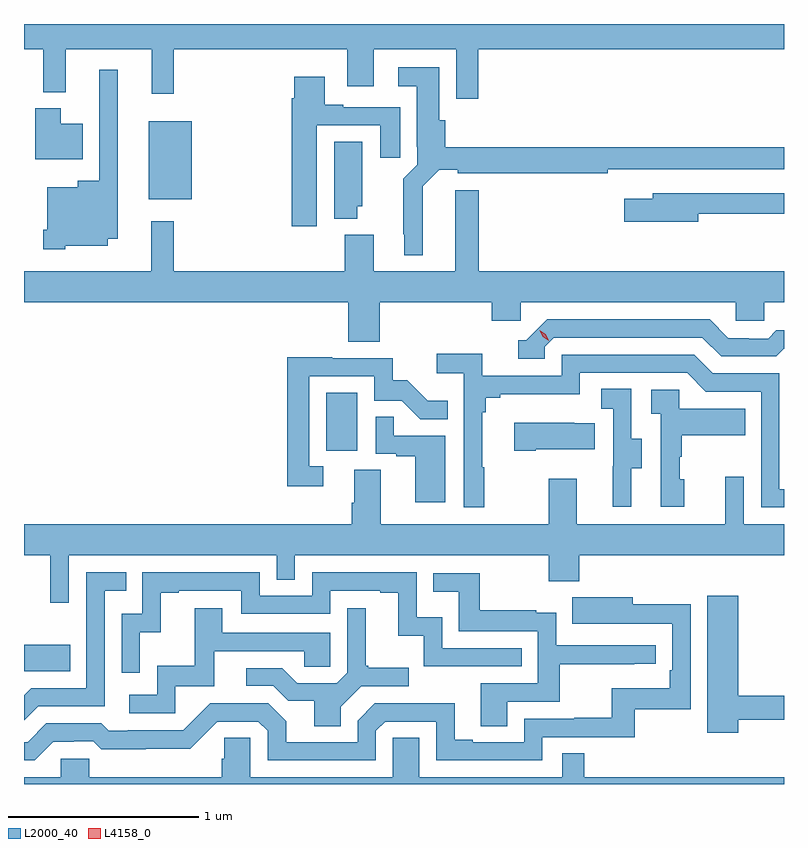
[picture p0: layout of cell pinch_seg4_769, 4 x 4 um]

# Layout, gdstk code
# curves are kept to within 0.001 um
import gdstk
lib = gdstk.Library(unit=1e-6, precision=1e-09)
def R(c, l, rs):  # rectangles x0, y0, x1, y1
    for r in rs: c.add(gdstk.rectangle(r[:2], r[2:], *l))
def P(c, l, *ps):  # polygons
    for p in ps: c.add(gdstk.Polygon(p, *l))
L2000_40 = (2000, 40)
L4158_0 = (4158, 0)

pinch_seg4_769 = lib.new_cell('pinch_seg4_769')
R(pinch_seg4_769, L2000_40, [(814.856,826.847,815.099,826.987), (816.446,828.006,816.61,828.313), (815.513,829.331,815.74,829.741)])
P(pinch_seg4_769, L2000_40, [(817.247,830.12),(818.856,830.12),(818.856,830.253),(814.856,830.253),(814.856,830.12),(814.957,830.12),(814.957,829.895),(815.075,829.895),(815.075,830.12),(815.528,830.12),(815.528,829.887),(815.645,829.887),(815.645,830.12),(816.557,830.12),(816.557,829.926),(816.697,829.926),(816.697,830.12),(817.131,830.12),(817.131,829.86),(817.247,829.86)],
  [(816.955,829.4),(817.041,829.487),(817.14,829.487),(817.14,829.468),(817.928,829.468),(817.928,829.488),(818.856,829.488),(818.856,829.604),(817.073,829.604),(817.073,829.746),(817.042,829.746),(817.042,830.026),(816.825,830.026),(816.825,829.925),(816.923,829.925),(816.923,829.606),(816.927,829.606),(816.927,829.512),(816.853,829.438),(816.853,829.147),(816.857,829.147),(816.857,829.037),(816.955,829.037)],
  [(815.073,829.085),(815.296,829.085),(815.296,829.124),(815.35,829.124),(815.35,830.011),(815.253,830.011),(815.253,829.429),(815.138,829.429),(815.138,829.393),(814.979,829.393),(814.979,829.171),(814.958,829.171),(814.958,829.067),(815.073,829.067)],
  [(816.397,829.719),(816.731,829.719),(816.731,829.548),(816.835,829.548),(816.835,829.815),(816.535,829.815),(816.535,829.828),(816.439,829.828),(816.439,829.975),(816.278,829.975),(816.278,829.862),(816.266,829.862),(816.266,829.188),(816.397,829.188)],
  [(815.164,829.729),(815.05,829.729),(815.05,829.81),(814.916,829.81),(814.916,829.541),(815.164,829.541)],
  [(816.61,829.293),(816.637,829.293),(816.637,829.634),(816.488,829.634),(816.488,829.229),(816.61,829.229)],
  [(816.728,828.788),(817.319,828.788),(817.319,828.69),(817.47,828.69),(817.47,828.788),(818.601,828.788),(818.601,828.69),(818.751,828.69),(818.751,828.788),(818.856,828.788),(818.856,828.952),(817.25,828.952),(817.25,829.378),(817.127,829.378),(817.127,828.952),(816.697,828.952),(816.697,829.144),(816.545,829.144),(816.545,828.952),(815.645,828.952),(815.645,829.216),(815.527,829.216),(815.527,828.952),(814.856,828.952),(814.856,828.788),(816.563,828.788),(816.563,828.58),(816.728,828.58)],
  [(818.404,829.254),(818.856,829.254),(818.856,829.362),(818.165,829.362),(818.165,829.333),(818.016,829.333),(818.016,829.211),(818.404,829.211)],
  [(817.596,828.555),(817.644,828.603),(818.427,828.603),(818.526,828.504),(818.815,828.504),(818.854,828.543),(818.856,828.543),(818.856,828.64),(818.815,828.64),(818.773,828.597),(818.67,828.597),(818.67,828.6),(818.563,828.6),(818.464,828.699),(817.611,828.699),(817.5,828.588),(817.457,828.588),(817.457,828.492),(817.596,828.492)],
  [(817.279,827.921),(817.267,827.921),(817.267,828.209),(817.286,828.209),(817.286,828.286),(817.363,828.286),(817.363,828.305),(817.782,828.305),(817.782,828.417),(818.346,828.417),(818.445,828.318),(818.736,828.318),(818.736,827.709),(818.856,827.709),(818.856,827.805),(818.832,827.805),(818.832,828.414),(818.482,828.414),(818.383,828.513),(817.686,828.513),(817.686,828.402),(817.268,828.402),(817.268,828.518),(817.029,828.518),(817.029,828.416),(817.17,828.416),(817.17,827.709),(817.279,827.709)],
  [(816.43,827.925),(816.357,827.925),(816.357,828.399),(816.699,828.399),(816.699,828.27),(816.843,828.27),(816.941,828.172),(817.085,828.172),(817.085,828.271),(816.981,828.271),(816.874,828.378),(816.798,828.378),(816.798,828.495),(816.479,828.495),(816.479,828.5),(816.241,828.5),(816.241,827.82),(816.43,827.82)],
  [(818.053,827.914),(818.107,827.914),(818.107,828.069),(818.052,828.069),(818.052,828.332),(817.893,828.332),(817.893,828.229),(817.956,828.229),(817.956,827.925),(817.955,827.925),(817.955,827.712),(818.053,827.712)],
  [(818.332,827.856),(818.307,827.856),(818.307,827.975),(818.317,827.975),(818.317,828.089),(818.651,828.089),(818.651,828.229),(818.304,828.229),(818.304,828.327),(818.157,828.327),(818.157,828.203),(818.208,828.203),(818.208,827.712),(818.332,827.712)],
  [(817.072,828.087),(816.803,828.087),(816.803,828.185),(816.708,828.185),(816.708,827.991),(816.815,827.991),(816.815,827.979),(816.914,827.979),(816.914,827.736),(817.072,827.736)],
  [(817.549,828.014),(817.859,828.014),(817.859,828.151),(817.751,828.151),(817.751,828.154),(817.437,828.154),(817.437,828.007),(817.549,828.007)],
  [(815.091,827.456),(816.186,827.456),(816.186,827.329),(816.282,827.329),(816.282,827.456),(817.618,827.456),(817.618,827.321),(817.778,827.321),(817.778,827.456),(818.856,827.456),(818.856,827.62),(818.643,827.62),(818.643,827.869),(818.546,827.869),(818.546,827.62),(817.765,827.62),(817.765,827.86),(817.618,827.86),(817.618,827.62),(816.733,827.62),(816.733,827.906),(816.593,827.906),(816.593,827.732),(816.581,827.732),(816.581,827.62),(814.856,827.62),(814.856,827.456),(814.994,827.456),(814.994,827.208),(815.091,827.208)],
  [(815.466,827.051),(815.576,827.051),(815.576,827.259),(815.671,827.259),(815.671,827.271),(816,827.271),(816,827.148),(816.468,827.148),(816.468,827.271),(816.731,827.271),(816.731,827.259),(816.827,827.259),(816.827,827.033),(816.96,827.033),(816.96,826.872),(817.475,826.872),(817.475,826.968),(817.056,826.968),(817.056,827.131),(816.924,827.131),(816.924,827.367),(816.372,827.367),(816.372,827.244),(816.096,827.244),(816.096,827.367),(815.478,827.367),(815.478,827.148),(815.37,827.148),(815.37,826.839),(815.466,826.839)],
  [(814.93,826.662),(815.28,826.662),(815.28,827.271),(815.393,827.271),(815.393,827.367),(815.184,827.367),(815.184,826.758),(814.893,826.758),(814.856,826.721),(814.856,826.588)],
  [(817.399,826.686),(817.676,826.686),(817.676,826.882),(818.069,826.882),(818.069,826.887),(818.182,826.887),(818.182,826.983),(817.656,826.983),(817.656,827.155),(817.553,827.155),(817.553,827.167),(817.255,827.167),(817.255,827.361),(817.009,827.361),(817.009,827.264),(817.144,827.264),(817.144,827.058),(817.56,827.058),(817.56,826.782),(817.259,826.782),(817.259,826.558),(817.399,826.558)],
  [(818.614,826.59),(818.856,826.59),(818.856,826.718),(818.614,826.718),(818.614,827.245),(818.453,827.245),(818.453,826.524),(818.614,826.524)],
  [(815.011,826.476),(815.118,826.476),(815.118,826.479),(815.221,826.479),(815.263,826.437),(815.496,826.437),(815.496,826.439),(815.732,826.439),(815.874,826.581),(816.09,826.581),(816.138,826.533),(816.138,826.377),(816.708,826.377),(816.708,826.533),(816.756,826.581),(817.026,826.581),(817.026,826.377),(817.584,826.377),(817.584,826.5),(818.071,826.5),(818.071,826.647),(818.364,826.647),(818.364,827.198),(818.059,827.198),(818.059,827.236),(817.741,827.236),(817.741,827.096),(818.268,827.097),(818.268,826.852),(818.255,826.852),(818.255,826.756),(817.95,826.756),(817.95,826.601),(817.753,826.601),(817.753,826.596),(817.488,826.596),(817.488,826.473),(817.219,826.473),(817.219,826.486),(817.123,826.486),(817.123,826.679),(816.918,826.679),(816.918,826.677),(816.702,826.677),(816.612,826.587),(816.612,826.473),(816.235,826.473),(816.235,826.583),(816.141,826.677),(815.835,826.677),(815.694,826.536),(815.401,826.536),(815.401,826.533),(815.302,826.533),(815.263,826.572),(814.974,826.572),(814.875,826.473),(814.856,826.473),(814.856,826.377),(814.912,826.377)],
  [(815.652,826.767),(815.857,826.767),(815.857,826.953),(816.331,826.953),(816.331,826.869),(816.468,826.869),(816.468,827.049),(815.899,827.049),(815.899,827.179),(815.755,827.179),(815.755,826.876),(815.556,826.876),(815.556,826.722),(815.409,826.722),(815.409,826.626),(815.652,826.626)],
  [(816.523,826.66),(816.63,826.767),(816.88,826.767),(816.88,826.864),(816.667,826.864),(816.667,826.876),(816.655,826.876),(816.655,827.179),(816.558,827.179),(816.558,826.839),(816.501,826.782),(816.295,826.782),(816.214,826.863),(816.027,826.863),(816.027,826.77),(816.168,826.77),(816.248,826.69),(816.383,826.69),(816.383,826.558),(816.523,826.558)],
  [(817.689,826.415),(817.689,826.288),(816.937,826.288),(816.937,826.496),(816.798,826.496),(816.798,826.288),(816.048,826.288),(816.048,826.496),(815.911,826.496),(815.911,826.386),(815.897,826.386),(815.897,826.288),(815.199,826.288),(815.199,826.386),(815.049,826.386),(815.049,826.288),(814.856,826.288),(814.856,826.253),(818.856,826.253),(818.856,826.288),(817.805,826.288),(817.805,826.415)])
P(pinch_seg4_769, L4158_0, [(817.618,828.587),(817.587,828.607),(817.571,828.639),(817.571,828.64),(817.571,828.64),(817.602,828.62),(817.619,828.588),(817.619,828.587)])

lib.write_gds('pinch_seg4_769.gds')
